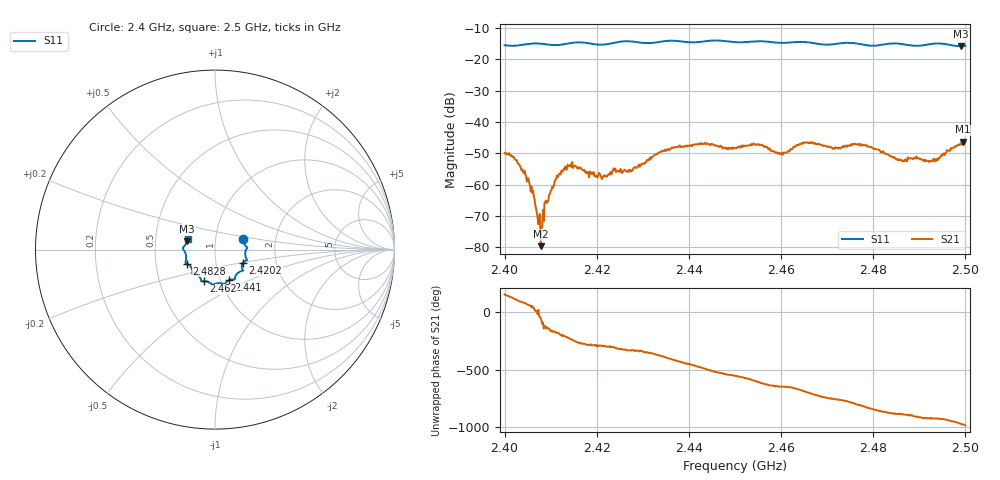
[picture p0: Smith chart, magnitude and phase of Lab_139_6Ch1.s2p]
# Hz S RI R 50
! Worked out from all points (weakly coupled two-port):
!   601 points, 2.4 GHz to 2.5 GHz, reference 50 ohm
!   highest |S21| = -46.30 dB at 2.4995 GHz (marker M1); lowest = -79.7 dB at 2.4078 GHz (marker M2)
!   lowest |S11| = -15.8 dB at 2.499 GHz (marker M3), VSWR 1.39, Z = 36.4 + j3.58 ohm
!   |S11| at or under -10 dB: start of sweep to end of sweep
!   S12 and S22 are empty: the file has one direction only
!   S11 on the Smith chart (normalised r, x): 2.4 GHz: 1.36, +0.17; 2.4202 GHz: 1.35, -0.20; 2.441 GHz: 1.10, -0.39; 2.462 GHz: 0.83, -0.30; 2.4828 GHz: 0.72, -0.12; 2.5 GHz: 0.73, +0.09
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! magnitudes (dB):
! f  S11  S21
! 2.4 GHz  -15.5  -50.0
! 2.4022 GHz  -15.6  -51.7
! 2.4048 GHz  -15.1  -59.1
! 2.4078 GHz  -15.0  -79.7
! 2.4092 GHz  -15.2  -65.9
! 2.4115 GHz  -15.4  -57.7
! 2.4142 GHz  -14.8  -54.0
! 2.4167 GHz  -14.6  -55.1
! 2.4202 GHz  -15.3  -57.7
! 2.4272 GHz  -14.2  -55.9
! 2.4333 GHz  -14.5  -49.8
! 2.441 GHz  -14.5  -47.3
! 2.45 GHz  -14.5  -48.3
! 2.462 GHz  -14.6  -48.7
! 2.4667 GHz  -14.7  -46.5
! 2.4778 GHz  -15.3  -47.4
! 2.4828 GHz  -15.1  -50.2
! 2.4833 GHz  -15.0  -50.5
! 2.4925 GHz  -15.1  -52.5
! 2.499 GHz  -15.8  -46.7
! 2.4995 GHz  -15.7  -46.3
! 2.5 GHz  -15.6  -46.5
